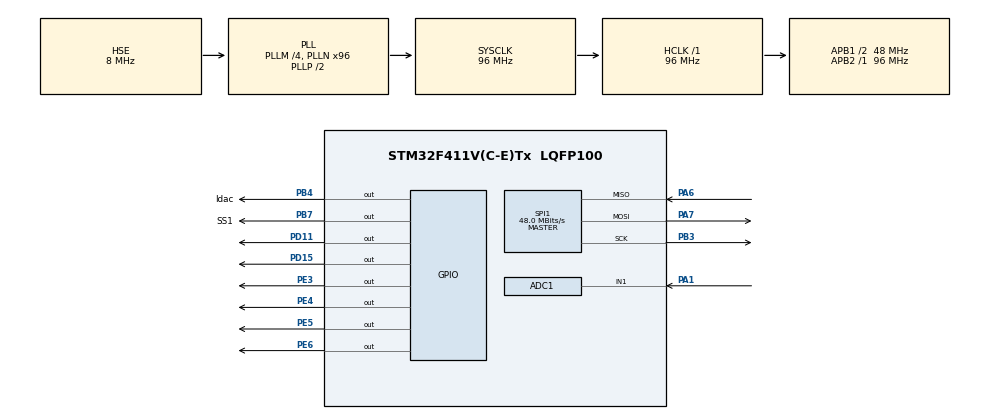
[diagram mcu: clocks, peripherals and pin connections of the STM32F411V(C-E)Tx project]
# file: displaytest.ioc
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ADC1.Channel-0\#ChannelRegularConversion=ADC_CHANNEL_1
ADC1.NbrOfConversionFlag=1
ADC1.Rank-0\#ChannelRegularConversion=1
ADC1.SamplingTime-0\#ChannelRegularConversion=ADC_SAMPLETIME_3CYCLES
ADC1.master=1
Mcu.Family=STM32F4
Mcu.Name=STM32F411V(C-E)Tx
Mcu.Package=LQFP100
NVIC.ADC_IRQn=true\:0\:0\:false\:false\:true\:true\:true\:true
NVIC.PriorityGroup=NVIC_PRIORITYGROUP_4
NVIC.TIM1_UP_TIM10_IRQn=true\:15\:0\:false\:false\:true\:false\:true\:true
NVIC.TimeBase=TIM1_UP_TIM10_IRQn
NVIC.TimeBaseIP=TIM1
PA0-WKUP.Mode=SYS_WakeUp0
PA0-WKUP.Signal=SYS_WKUP
PA1.Signal=ADCx_IN1
PA13.Mode=Serial_Wire
PA13.Signal=SYS_JTMS-SWDIO
PA14.Mode=Serial_Wire
PA14.Signal=SYS_JTCK-SWCLK
PA6.Mode=Full_Duplex_Master
PA6.Signal=SPI1_MISO
PA7.Mode=Full_Duplex_Master
PA7.Signal=SPI1_MOSI
PB3.Mode=Full_Duplex_Master
PB3.Signal=SPI1_SCK
PB4.GPIO_Label=ldac
PB4.Signal=GPIO_Output
PB7.GPIO_Label=SS1
PB7.Signal=GPIO_Output
PD11.Signal=GPIO_Output
PD15.Signal=GPIO_Output
PE3.GPIO_Speed=GPIO_SPEED_FREQ_LOW
PE3.Signal=GPIO_Output
PE4.Signal=GPIO_Output
PE5.Signal=GPIO_Output
PE6.GPIO_Speed=GPIO_SPEED_FREQ_LOW
PE6.Signal=GPIO_Output
PH0\ -\ OSC_IN.Mode=HSE-External-Oscillator
PH0\ -\ OSC_IN.Signal=RCC_OSC_IN
PH1\ -\ OSC_OUT.Mode=HSE-External-Oscillator
PH1\ -\ OSC_OUT.Signal=RCC_OSC_OUT
ProjectManager.HeapSize=0x200
ProjectManager.StackSize=0x400
ProjectManager.TargetToolchain=STM32CubeIDE
RCC.48MHZClocksFreq_Value=48000000
RCC.AHBFreq_Value=96000000
RCC.APB1CLKDivider=RCC_HCLK_DIV2
RCC.APB1Freq_Value=48000000
RCC.APB1TimFreq_Value=96000000
RCC.APB2Freq_Value=96000000
RCC.APB2TimFreq_Value=96000000
RCC.CortexFreq_Value=96000000
RCC.HCLKFreq_Value=96000000
RCC.HSE_VALUE=8000000
RCC.HSI_VALUE=16000000
RCC.LSE_VALUE=32768
RCC.PLLM=4
RCC.PLLN=96
RCC.PLLSourceVirtual=RCC_PLLSOURCE_HSE
RCC.SYSCLKFreq_VALUE=96000000
RCC.SYSCLKSource=RCC_SYSCLKSOURCE_PLLCLK
RCC.VCOOutputFreq_Value=192000000
SH.ADCx_IN1.0=ADC1_IN1,IN1
SPI1.BaudRatePrescaler=SPI_BAUDRATEPRESCALER_2
SPI1.CalculateBaudRate=48.0 MBits/s
SPI1.DataSize=SPI_DATASIZE_8BIT
SPI1.Direction=SPI_DIRECTION_2LINES
SPI1.FirstBit=SPI_FIRSTBIT_MSB
SPI1.Mode=SPI_MODE_MASTER
SPI1.VirtualType=VM_MASTER
TIM2.AutoReloadPreload=TIM_AUTORELOAD_PRELOAD_ENABLE
TIM2.Period=1000
TIM2.Prescaler=1000
VP_SYS_VS_tim1.Mode=TIM1
VP_TIM2_VS_ClockSourceINT.Mode=Internal
board=custom

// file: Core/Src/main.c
/* USER CODE BEGIN Header */
/**
  ******************************************************************************
  * @file           : main.c
  * @brief          : Main program body
  ******************************************************************************
  * @attention
  *
  * Copyright (c) 2022 STMicroelectronics.
  * All rights reserved.
  *
  * This software is licensed under terms that can be found in the LICENSE file
  * in the root directory of this software component.
  * If no LICENSE file comes with this software, it is provided AS-IS.
  *
  ******************************************************************************
  */
/* USER CODE END Header */
#include "main.h"

/* USER CODE BEGIN Includes */
#include  <math.h>
/* USER CODE END Includes */

/* USER CODE BEGIN PTD */
void Put_DA(unsigned char channel,unsigned short load);
uint32_t DWT_Delay_Init(void);
__STATIC_INLINE void DWT_Delay_us(volatile uint32_t au32_microseconds);
void Put__DA(unsigned short chan_A,unsigned short chan_B);
/* USER CODE END PTD */

/* USER CODE BEGIN PD */
#define bufferlengte 1023
/* USER CODE END PD */

/* USER CODE BEGIN PM */
void Init_OnBoard_LEDs(void);
/* USER CODE END PM */

ADC_HandleTypeDef hadc1;

SPI_HandleTypeDef hspi1;

TIM_HandleTypeDef htim2;

void SystemClock_Config(void);
static void MX_GPIO_Init(void);
static void MX_SPI1_Init(void);
static void MX_ADC1_Init(void);
static void MX_TIM2_Init(void);
/* USER CODE BEGIN PFP */
uint32_t buffer [bufferlengte] = {0};
uint32_t adc_buf;
uint16_t i = 0;
/* USER CODE END PFP */

int main(void)
{

  /* MCU Configuration--------------------------------------------------------*/

  /* Reset of all peripherals, Initializes the Flash interface and the Systick. */
  HAL_Init();

  /* Configure the system clock */
  SystemClock_Config();

  /* Initialize all configured peripherals */
  MX_GPIO_Init();
  MX_SPI1_Init();
  MX_ADC1_Init();
  MX_TIM2_Init();
  /* USER CODE BEGIN 2 */
  HAL_TIM_Base_Start_IT(&htim2);
  Init_OnBoard_LEDs();
  DWT_Delay_Init();
  unsigned short test;
  while(1)

  {

	  HAL_ADC_Start_IT (&hadc1);
	  TIM2->CCR1 = (adc_buf<<4);
	  	  //HAL_Delay(1);
//	  	  for (int x =0;x <100;x++)
//	  	  {
//	  		Put__DA(buffer[x],buffer[x]);
//	  	  }

//	  for (test=0;test<4095;test++)
//	  {
		  //Put__DA(4000,4000);		// demo output using math.h on channel A and B
//
//	  }

  }

  /* USER CODE END 2 */

  /* Infinite loop */
  while (1)
  {

  }
}

void SystemClock_Config(void)
{
  RCC_OscInitTypeDef RCC_OscInitStruct = {0};
  RCC_ClkInitTypeDef RCC_ClkInitStruct = {0};

  /** Configure the main internal regulator output voltage
  */
  __HAL_RCC_PWR_CLK_ENABLE();
  __HAL_PWR_VOLTAGESCALING_CONFIG(PWR_REGULATOR_VOLTAGE_SCALE1);

  /** Initializes the RCC Oscillators according to the specified parameters
  * in the RCC_OscInitTypeDef structure.
  */
  RCC_OscInitStruct.OscillatorType = RCC_OSCILLATORTYPE_HSE;
  RCC_OscInitStruct.HSEState = RCC_HSE_ON;
  RCC_OscInitStruct.PLL.PLLState = RCC_PLL_ON;
  RCC_OscInitStruct.PLL.PLLSource = RCC_PLLSOURCE_HSE;
  RCC_OscInitStruct.PLL.PLLM = 4;
  RCC_OscInitStruct.PLL.PLLN = 96;
  RCC_OscInitStruct.PLL.PLLP = RCC_PLLP_DIV2;
  RCC_OscInitStruct.PLL.PLLQ = 4;
  if (HAL_RCC_OscConfig(&RCC_OscInitStruct) != HAL_OK)
  {
    Error_Handler();
  }

  /** Initializes the CPU, AHB and APB buses clocks
  */
  RCC_ClkInitStruct.ClockType = RCC_CLOCKTYPE_HCLK|RCC_CLOCKTYPE_SYSCLK
                              |RCC_CLOCKTYPE_PCLK1|RCC_CLOCKTYPE_PCLK2;
  RCC_ClkInitStruct.SYSCLKSource = RCC_SYSCLKSOURCE_PLLCLK;
  RCC_ClkInitStruct.AHBCLKDivider = RCC_SYSCLK_DIV1;
  RCC_ClkInitStruct.APB1CLKDivider = RCC_HCLK_DIV2;
  RCC_ClkInitStruct.APB2CLKDivider = RCC_HCLK_DIV1;

  if (HAL_RCC_ClockConfig(&RCC_ClkInitStruct, FLASH_LATENCY_3) != HAL_OK)
  {
    Error_Handler();
  }
}

static void MX_ADC1_Init(void)
{

  ADC_ChannelConfTypeDef sConfig = {0};

  /** Configure the global features of the ADC (Clock, Resolution, Data Alignment and number of conversion)
  */
  hadc1.Instance = ADC1;
  hadc1.Init.ClockPrescaler = ADC_CLOCK_SYNC_PCLK_DIV4;
  hadc1.Init.Resolution = ADC_RESOLUTION_12B;
  hadc1.Init.ScanConvMode = DISABLE;
  hadc1.Init.ContinuousConvMode = DISABLE;
  hadc1.Init.DiscontinuousConvMode = DISABLE;
  hadc1.Init.ExternalTrigConvEdge = ADC_EXTERNALTRIGCONVEDGE_NONE;
  hadc1.Init.ExternalTrigConv = ADC_SOFTWARE_START;
  hadc1.Init.DataAlign = ADC_DATAALIGN_RIGHT;
  hadc1.Init.NbrOfConversion = 1;
  hadc1.Init.DMAContinuousRequests = DISABLE;
  hadc1.Init.EOCSelection = ADC_EOC_SINGLE_CONV;
  if (HAL_ADC_Init(&hadc1) != HAL_OK)
  {
    Error_Handler();
  }

  /** Configure for the selected ADC regular channel its corresponding rank in the sequencer and its sample time.
  */
  sConfig.Channel = ADC_CHANNEL_1;
  sConfig.Rank = 1;
  sConfig.SamplingTime = ADC_SAMPLETIME_3CYCLES;
  if (HAL_ADC_ConfigChannel(&hadc1, &sConfig) != HAL_OK)
  {
    Error_Handler();
  }

}

static void MX_SPI1_Init(void)
{

  /* SPI1 parameter configuration*/
  hspi1.Instance = SPI1;
  hspi1.Init.Mode = SPI_MODE_MASTER;
  hspi1.Init.Direction = SPI_DIRECTION_2LINES;
  hspi1.Init.DataSize = SPI_DATASIZE_8BIT;
  hspi1.Init.CLKPolarity = SPI_POLARITY_LOW;
  hspi1.Init.CLKPhase = SPI_PHASE_1EDGE;
  hspi1.Init.NSS = SPI_NSS_SOFT;
  hspi1.Init.BaudRatePrescaler = SPI_BAUDRATEPRESCALER_2;
  hspi1.Init.FirstBit = SPI_FIRSTBIT_MSB;
  hspi1.Init.TIMode = SPI_TIMODE_DISABLE;
  hspi1.Init.CRCCalculation = SPI_CRCCALCULATION_DISABLE;
  hspi1.Init.CRCPolynomial = 10;
  if (HAL_SPI_Init(&hspi1) != HAL_OK)
  {
    Error_Handler();
  }

}

static void MX_TIM2_Init(void)
{

  TIM_ClockConfigTypeDef sClockSourceConfig = {0};
  TIM_MasterConfigTypeDef sMasterConfig = {0};

  htim2.Instance = TIM2;
  htim2.Init.Prescaler = 1000;
  htim2.Init.CounterMode = TIM_COUNTERMODE_UP;
  htim2.Init.Period = 1000;
  htim2.Init.ClockDivision = TIM_CLOCKDIVISION_DIV1;
  htim2.Init.AutoReloadPreload = TIM_AUTORELOAD_PRELOAD_ENABLE;
  if (HAL_TIM_Base_Init(&htim2) != HAL_OK)
  {
    Error_Handler();
  }
  sClockSourceConfig.ClockSource = TIM_CLOCKSOURCE_INTERNAL;
  if (HAL_TIM_ConfigClockSource(&htim2, &sClockSourceConfig) != HAL_OK)
  {
    Error_Handler();
  }
  sMasterConfig.MasterOutputTrigger = TIM_TRGO_RESET;
  sMasterConfig.MasterSlaveMode = TIM_MASTERSLAVEMODE_DISABLE;
  if (HAL_TIMEx_MasterConfigSynchronization(&htim2, &sMasterConfig) != HAL_OK)
  {
    Error_Handler();
  }

}

static void MX_GPIO_Init(void)
{
  GPIO_InitTypeDef GPIO_InitStruct = {0};

  /* GPIO Ports Clock Enable */
  __HAL_RCC_GPIOE_CLK_ENABLE();
  __HAL_RCC_GPIOH_CLK_ENABLE();
  __HAL_RCC_GPIOA_CLK_ENABLE();
  __HAL_RCC_GPIOD_CLK_ENABLE();
  __HAL_RCC_GPIOB_CLK_ENABLE();

  /*Configure GPIO pin Output Level */
  HAL_GPIO_WritePin(GPIOE, GPIO_PIN_3|GPIO_PIN_4|GPIO_PIN_5|GPIO_PIN_6, GPIO_PIN_RESET);

  /*Configure GPIO pin Output Level */
  HAL_GPIO_WritePin(GPIOD, GPIO_PIN_11|GPIO_PIN_15, GPIO_PIN_RESET);

  /*Configure GPIO pin Output Level */
  HAL_GPIO_WritePin(GPIOB, ldac_Pin|SS1_Pin, GPIO_PIN_RESET);

  /*Configure GPIO pins : PE3 PE4 PE5 PE6 */
  GPIO_InitStruct.Pin = GPIO_PIN_3|GPIO_PIN_4|GPIO_PIN_5|GPIO_PIN_6;
  GPIO_InitStruct.Mode = GPIO_MODE_OUTPUT_PP;
  GPIO_InitStruct.Pull = GPIO_NOPULL;
  GPIO_InitStruct.Speed = GPIO_SPEED_FREQ_LOW;
  HAL_GPIO_Init(GPIOE, &GPIO_InitStruct);

  /*Configure GPIO pins : PD11 PD15 */
  GPIO_InitStruct.Pin = GPIO_PIN_11|GPIO_PIN_15;
  GPIO_InitStruct.Mode = GPIO_MODE_OUTPUT_PP;
  GPIO_InitStruct.Pull = GPIO_NOPULL;
  GPIO_InitStruct.Speed = GPIO_SPEED_FREQ_LOW;
  HAL_GPIO_Init(GPIOD, &GPIO_InitStruct);

  /*Configure GPIO pins : ldac_Pin SS1_Pin */
  GPIO_InitStruct.Pin = ldac_Pin|SS1_Pin;
  GPIO_InitStruct.Mode = GPIO_MODE_OUTPUT_PP;
  GPIO_InitStruct.Pull = GPIO_NOPULL;
  GPIO_InitStruct.Speed = GPIO_SPEED_FREQ_LOW;
  HAL_GPIO_Init(GPIOB, &GPIO_InitStruct);

}

/* USER CODE BEGIN 4 */

void Init_OnBoard_LEDs(void)
{
	 __HAL_RCC_GPIOD_CLK_ENABLE();
	GPIO_InitTypeDef BoardLEDs;
	BoardLEDs.Mode = GPIO_MODE_OUTPUT_PP;
	BoardLEDs.Pin = GPIO_PIN_12|GPIO_PIN_13|GPIO_PIN_14|GPIO_PIN_15;
	HAL_GPIO_Init(GPIOD, &BoardLEDs);
}

void HAL_ADC_ConvCpltCallback(ADC_HandleTypeDef* hadc)
{
	adc_buf = HAL_ADC_GetValue(&hadc1);
	if (i < bufferlengte)
	{
	buffer[i] = adc_buf;
	Put__DA(1,buffer[i]);
	i++;
	}
	else
	{
		i=0;
		//HAL_Delay(1000000);
	}

}

/*******************************************************************/
/*   put_DA written by J.F. van der Bent
 *   2 aguments 0 -> select channel A 1 select channel B
 *   load 0-4096
 *   no return
 *   uses DWT_Delay_us function for holdoff LDAC
 *   date 12 sept 2022
 *   version 1.0
 */
void Put_DA(unsigned char channel,unsigned short load)
{
	 unsigned char data[2]={0x30,0x00}; // default unbuffered | Gain 1x |  active mode
	 data[1] = load & 0x00FF;
	 data[0] = data[0]|(load & 0x0F00)>>8;
	 unsigned char *point = data ; // place truncated load over both bytes

	 if (channel)
		 {
		 data[0] = data[0]|1<<7;			// set bit 7 default channel A if set channel B
		 }

	 HAL_GPIO_WritePin(SS1_GPIO_Port, SS1_Pin, GPIO_PIN_RESET);
	 HAL_SPI_Transmit(&hspi1, point, 2, 1000);	// send DA data over SPI
	 HAL_GPIO_WritePin(GPIOB, ldac_Pin, GPIO_PIN_RESET);
	 DWT_Delay_us(10);		// settling time signal + PCB cap
	 HAL_GPIO_WritePin(GPIOB, ldac_Pin, GPIO_PIN_SET);
	 HAL_GPIO_WritePin(SS1_GPIO_Port, SS1_Pin, GPIO_PIN_SET);

}

/*******************************************************************/
/*   put__DA written by J.F. van der Bent
 *   2 aguments  channel A load 0-4095 channel B load 0-4095
 *   no output
 *   uses DWT_Delay_us function for holdoff LDAC
 *   date 12 sept 2022
 *   version 1.0
 */
void Put__DA(unsigned short chan_A,unsigned short chan_B) // both channels
{
	 unsigned char data_A[2]={0x30,0x00}; // default unbuffered | Gain 1x |  active mode
	 unsigned char data_B[2]={0x30,0x00}; // default unbuffered | Gain 1x |  active mode

	 	 data_A[1] = chan_A & 0x00FF;
		 data_A[0] = data_A[0]|(chan_A & 0x0F00)>>8;
		 unsigned char *point_A = data_A ; // place truncated load over both bytes
		 data_B[1] = chan_B & 0x00FF;
		 data_B[0] = data_B[0]|(chan_B & 0x0F00)>>8;
		 unsigned char *point_B = data_B ; // place truncated load over both bytes

		 data_B[0] = data_B[0]|1<<7;			// Select channel B

		 HAL_GPIO_WritePin(SS1_GPIO_Port, SS1_Pin, GPIO_PIN_RESET);
		 HAL_SPI_Transmit(&hspi1, point_A, 2, 1000);	// send DA data over SPI
		 HAL_GPIO_WritePin(SS1_GPIO_Port, SS1_Pin, GPIO_PIN_SET);
		 HAL_GPIO_WritePin(SS1_GPIO_Port, SS1_Pin, GPIO_PIN_RESET);
		 HAL_SPI_Transmit(&hspi1, point_B, 2, 1000);	// send DA data over SPI
		 HAL_GPIO_WritePin(SS1_GPIO_Port, SS1_Pin, GPIO_PIN_SET);

		 HAL_GPIO_WritePin(GPIOB, ldac_Pin, GPIO_PIN_RESET);
		 DWT_Delay_us(10);		// settling time signal + PCB cap
		 HAL_GPIO_WritePin(GPIOB, ldac_Pin, GPIO_PIN_SET);

}
__STATIC_INLINE void DWT_Delay_us(volatile uint32_t au32_microseconds)
{
  uint32_t au32_initial_ticks = DWT->CYCCNT;
  uint32_t au32_ticks = (HAL_RCC_GetHCLKFreq() / 1000000);
  au32_microseconds *= au32_ticks;
  while ((DWT->CYCCNT - au32_initial_ticks) < au32_microseconds-au32_ticks);
}
uint32_t DWT_Delay_Init(void)
{
    /* Disable TRC */
    CoreDebug->DEMCR &= ~CoreDebug_DEMCR_TRCENA_Msk; // ~0x01000000;
    /* Enable TRC */
    CoreDebug->DEMCR |=  CoreDebug_DEMCR_TRCENA_Msk; // 0x01000000;

    /* Disable clock cycle counter */
    DWT->CTRL &= ~DWT_CTRL_CYCCNTENA_Msk; //~0x00000001;
    /* Enable  clock cycle counter */
    DWT->CTRL |=  DWT_CTRL_CYCCNTENA_Msk; //0x00000001;

    /* Reset the clock cycle counter value */
    DWT->CYCCNT = 0;

    /* 3 NO OPERATION instructions */
    __ASM volatile ("NOP");
    __ASM volatile ("NOP");
    __ASM volatile ("NOP");

    /* Check if clock cycle counter has started */
    if(DWT->CYCCNT)
    {
       return 0; /*clock cycle counter started*/
    }
    else
    {
      return 1; /*clock cycle counter not started*/
    }
}
/* USER CODE END 4 */

void HAL_TIM_PeriodElapsedCallback(TIM_HandleTypeDef *htim)
{
  /* USER CODE BEGIN Callback 0 */

	HAL_GPIO_TogglePin(GPIOD,GPIO_PIN_15);

  /* USER CODE END Callback 0 */
  if (htim->Instance == TIM1) {
    HAL_IncTick();
  }
}

void Error_Handler(void)
{
  __disable_irq();
  while (1)
  {
  }
}
